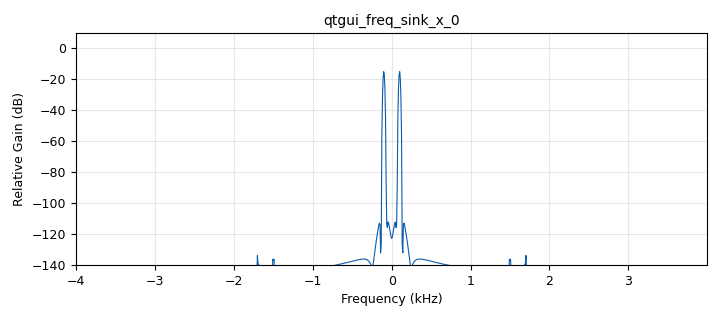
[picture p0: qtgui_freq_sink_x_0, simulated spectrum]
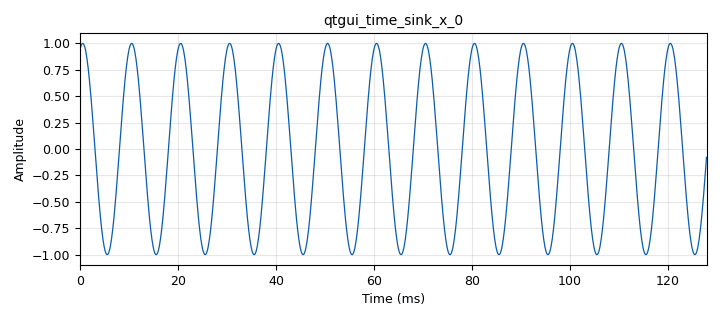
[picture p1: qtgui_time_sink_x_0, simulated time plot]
<?xml version='1.0' encoding='utf-8'?>
<?grc format='1' created='3.7.11'?>
<flow_graph>
<block>
<key>options</key>
<param><key>id</key><value>Labo1_1</value></param>
<param><key>author</key><value>Leocarlos B S Lima</value></param>
<param><key>category</key><value>Custom</value></param>
<param><key>description</key><value>Experimento para Laboratório de Princípios de Comunicações. Departamento de Engenharia Elétrica - DEE da Universidade Federal de Campina Grande - UFCG.</value></param>
<param><key>generate_options</key><value>qt_gui</value></param>
<param><key>title</key><value>Experimentando o GRC</value></param>
</block>
<block>
<key>variable</key>
<param><key>id</key><value>samp_rate</value></param>
<param><key>value</key><value>8000</value></param>
</block>
<block>
<key>blocks_throttle</key>
<param><key>id</key><value>blocks_throttle_0</value></param>
<param><key>samples_per_second</key><value>samp_rate</value></param>
<param><key>type</key><value>float</value></param>
</block>
<block>
<key>analog_sig_source_x</key>
<param><key>id</key><value>fundamental</value></param>
<param><key>amp</key><value>1.0</value></param>
<param><key>freq</key><value>100</value></param>
<param><key>offset</key><value>0</value></param>
<param><key>type</key><value>float</value></param>
<param><key>samp_rate</key><value>samp_rate</value></param>
<param><key>waveform</key><value>analog.GR_SIN_WAVE</value></param>
</block>
<block>
<key>qtgui_freq_sink_x</key>
<param><key>id</key><value>qtgui_freq_sink_x_0</value></param>
<param><key>bw</key><value>samp_rate</value></param>
<param><key>fc</key><value>0</value></param>
<param><key>fftsize</key><value>1024</value></param>
<param><key>showports</key><value>True</value></param>
<param><key>type</key><value>float</value></param>
<param><key>wintype</key><value>firdes.WIN_BLACKMAN_hARRIS</value></param>
</block>
<block>
<key>qtgui_time_sink_x</key>
<param><key>id</key><value>qtgui_time_sink_x_0</value></param>
<param><key>autoscale</key><value>True</value></param>
<param><key>grid</key><value>True</value></param>
<param><key>color1</key><value>"blue"</value></param>
<param><key>label1</key><value></value></param>
<param><key>size</key><value>1024</value></param>
<param><key>srate</key><value>samp_rate</value></param>
<param><key>type</key><value>float</value></param>
</block>
<connection><source_block_id>blocks_throttle_0</source_block_id><sink_block_id>qtgui_freq_sink_x_0</sink_block_id><source_key>0</source_key><sink_key>0</sink_key></connection>
<connection><source_block_id>blocks_throttle_0</source_block_id><sink_block_id>qtgui_time_sink_x_0</sink_block_id><source_key>0</source_key><sink_key>0</sink_key></connection>
<connection><source_block_id>fundamental</source_block_id><sink_block_id>blocks_throttle_0</sink_block_id><source_key>0</source_key><sink_key>0</sink_key></connection>
</flow_graph>
